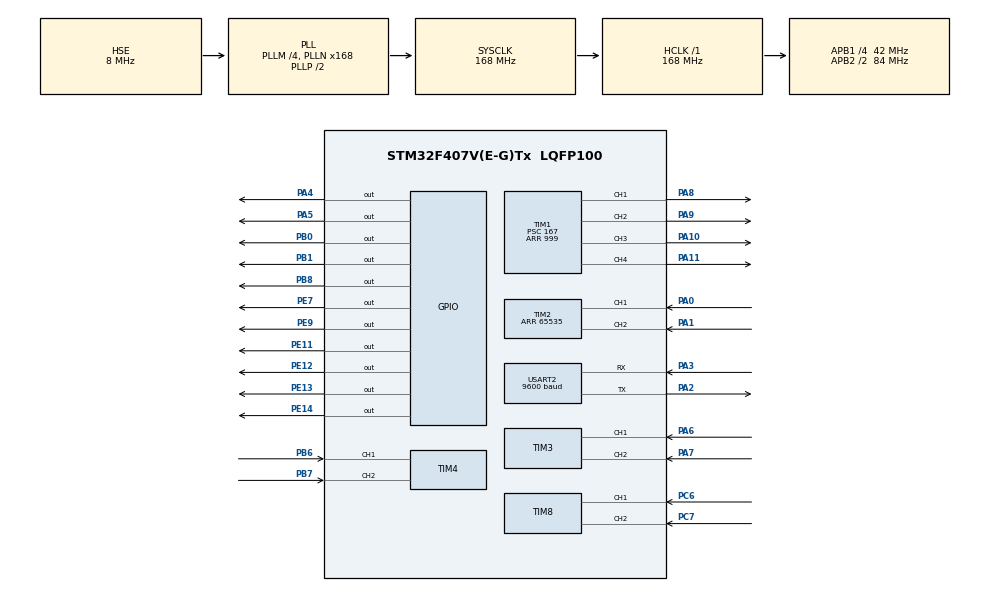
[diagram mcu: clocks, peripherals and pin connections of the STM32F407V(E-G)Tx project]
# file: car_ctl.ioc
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Mcu.Family=STM32F4
Mcu.Name=STM32F407V(E-G)Tx
Mcu.Package=LQFP100
NVIC.PriorityGroup=NVIC_PRIORITYGROUP_4
NVIC.TIM6_DAC_IRQn=true\:0\:0\:false\:false\:true\:true\:true\:true
NVIC.USART2_IRQn=true\:0\:0\:false\:false\:true\:true\:true\:true
PA0-WKUP.Signal=S_TIM2_CH1_ETR
PA1.Signal=S_TIM2_CH2
PA10.Signal=S_TIM1_CH3
PA11.Signal=S_TIM1_CH4
PA13.Mode=Serial_Wire
PA13.Signal=SYS_JTMS-SWDIO
PA14.Mode=Serial_Wire
PA14.Signal=SYS_JTCK-SWCLK
PA2.Mode=Asynchronous
PA2.Signal=USART2_TX
PA3.Mode=Asynchronous
PA3.Signal=USART2_RX
PA4.Signal=GPIO_Output
PA5.Signal=GPIO_Output
PA6.Signal=S_TIM3_CH1
PA7.Signal=S_TIM3_CH2
PA8.Signal=S_TIM1_CH1
PA9.Signal=S_TIM1_CH2
PB0.Signal=GPIO_Output
PB1.Signal=GPIO_Output
PB6.Signal=S_TIM4_CH1
PB7.Signal=S_TIM4_CH2
PB8.Signal=GPIO_Output
PC14-OSC32_IN.Mode=LSE-External-Oscillator
PC14-OSC32_IN.Signal=RCC_OSC32_IN
PC15-OSC32_OUT.Mode=LSE-External-Oscillator
PC15-OSC32_OUT.Signal=RCC_OSC32_OUT
PC6.Signal=S_TIM8_CH1
PC7.Signal=S_TIM8_CH2
PE11.Signal=GPIO_Output
PE12.Signal=GPIO_Output
PE13.Signal=GPIO_Output
PE14.Signal=GPIO_Output
PE7.Signal=GPIO_Output
PE9.Signal=GPIO_Output
PH0-OSC_IN.Mode=HSE-External-Oscillator
PH0-OSC_IN.Signal=RCC_OSC_IN
PH1-OSC_OUT.Mode=HSE-External-Oscillator
PH1-OSC_OUT.Signal=RCC_OSC_OUT
ProjectManager.HeapSize=0x200
ProjectManager.StackSize=0x400
ProjectManager.TargetToolchain=MDK-ARM V5
RCC.48MHZClocksFreq_Value=84000000
RCC.AHBFreq_Value=168000000
RCC.APB1CLKDivider=RCC_HCLK_DIV4
RCC.APB1Freq_Value=42000000
RCC.APB1TimFreq_Value=84000000
RCC.APB2CLKDivider=RCC_HCLK_DIV2
RCC.APB2Freq_Value=84000000
RCC.APB2TimFreq_Value=168000000
RCC.CortexFreq_Value=168000000
RCC.HCLKFreq_Value=168000000
RCC.HSE_VALUE=8000000
RCC.HSI_VALUE=16000000
RCC.PLLM=4
RCC.PLLN=168
RCC.PLLSourceVirtual=RCC_PLLSOURCE_HSE
RCC.SYSCLKFreq_VALUE=168000000
RCC.SYSCLKSource=RCC_SYSCLKSOURCE_PLLCLK
RCC.VCOOutputFreq_Value=336000000
SH.S_TIM1_CH1.0=TIM1_CH1,PWM Generation1 CH1
SH.S_TIM1_CH2.0=TIM1_CH2,PWM Generation2 CH2
SH.S_TIM1_CH3.0=TIM1_CH3,PWM Generation3 CH3
SH.S_TIM1_CH4.0=TIM1_CH4,PWM Generation4 CH4
SH.S_TIM2_CH1_ETR.0=TIM2_CH1,Encoder_Interface
SH.S_TIM2_CH2.0=TIM2_CH2,Encoder_Interface
SH.S_TIM3_CH1.0=TIM3_CH1,Encoder_Interface
SH.S_TIM3_CH2.0=TIM3_CH2,Encoder_Interface
SH.S_TIM4_CH1.0=TIM4_CH1,Encoder_Interface
SH.S_TIM4_CH2.0=TIM4_CH2,Encoder_Interface
SH.S_TIM8_CH1.0=TIM8_CH1,Encoder_Interface
SH.S_TIM8_CH2.0=TIM8_CH2,Encoder_Interface
TIM1.AutoReloadPreload=TIM_AUTORELOAD_PRELOAD_ENABLE
TIM1.AutomaticOutput=TIM_AUTOMATICOUTPUT_ENABLE
TIM1.Channel-PWM\ Generation1\ CH1=TIM_CHANNEL_1
TIM1.Channel-PWM\ Generation2\ CH2=TIM_CHANNEL_2
TIM1.Channel-PWM\ Generation3\ CH3=TIM_CHANNEL_3
TIM1.Channel-PWM\ Generation4\ CH4=TIM_CHANNEL_4
TIM1.Period=999
TIM1.Prescaler=167
TIM2.EncoderMode=TIM_ENCODERMODE_TI12
TIM2.Period=65535
TIM3.EncoderMode=TIM_ENCODERMODE_TI12
TIM4.EncoderMode=TIM_ENCODERMODE_TI12
TIM6.Prescaler=8399
TIM8.EncoderMode=TIM_ENCODERMODE_TI12
USART2.BaudRate=9600
USART2.VirtualMode=VM_ASYNC
VP_TIM6_VS_ClockSourceINT.Mode=Enable_Timer
board=custom

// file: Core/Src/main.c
/* USER CODE BEGIN Header */
/**
  ******************************************************************************
  * @file           : main.c
  * @brief          : Main program body
  ******************************************************************************
  * @attention
  *
  * Copyright (c) 2026 STMicroelectronics.
  * All rights reserved.
  *
  * This software is licensed under terms that can be found in the LICENSE file
  * in the root directory of this software component.
  * If no LICENSE file comes with this software, it is provided AS-IS.
  *
  ******************************************************************************
  */
/* USER CODE END Header */
#include "main.h"
#include "tim.h"
#include "usart.h"
#include "gpio.h"

/* USER CODE BEGIN Includes */
#include "oled.h"
#include "motor.h"
#include "kinematics.h"
#include "remote.h"
#include <string.h>
#include <stdio.h>
/* USER CODE END Includes */

/* USER CODE BEGIN PV */
// 遥控变量
volatile float target_vx = 0, target_vy = 0, target_omega = 0;
volatile uint8_t new_cmd_flag = 0;
volatile uint8_t motor_enabled = 0;   // 0:禁止运动, 1:允许运动
// 串口接收缓冲区
uint8_t uart_rx_line[64];
uint8_t uart_rx_index = 0;
volatile int16_t motor1_speed = 0;
volatile int16_t motor2_speed = 0;
/* USER CODE END PV */

void SystemClock_Config(void);

int main(void)
{

  /* MCU Configuration--------------------------------------------------------*/

  /* Reset of all peripherals, Initializes the Flash interface and the Systick. */
  HAL_Init();

  /* Configure the system clock */
  SystemClock_Config();

  /* Initialize all configured peripherals */
  MX_GPIO_Init();
  MX_USART2_UART_Init();
  MX_TIM1_Init();
  MX_TIM2_Init();
  MX_TIM3_Init();
  MX_TIM4_Init();
  MX_TIM8_Init();
  MX_TIM6_Init();
  /* USER CODE BEGIN 2 */
	OLED_Init();
	OLED_Clear();
	OLED_ColorTurn(0);//0正常显示，1 反色显示
  OLED_DisplayTurn(0);//0正常显示 1 屏幕翻转显示
	OLED_ShowString(0, 0, (uint8_t*)"Hajimi Robot", 16);
	OLED_Refresh();
	Motor_Init();
  Kinematics_Init(0.03f, 0.15f);   // 轮半径0.03m, 机器人半径0.15m
  for (int i = 0; i < 4; i++)
	{
		PID_Init(&motor[i].pid, 2.0f, 0.1f, 0.4f, 500.0f, 1000.0f);
  }

	HAL_TIM_Base_Start_IT(&htim6);

	uint32_t last_display = 0;
  char line_buf[32];
	char display_line[32];
//	Motor_SetSpeed(&motor[0], 500);  // 左前电机以50%占空比正转
//	Motor_SetSpeed(&motor[1], 500);
//	Motor_SetSpeed(&motor[2], 500);
//	Motor_SetSpeed(&motor[3], 500);
  /* USER CODE END 2 */

  /* Infinite loop */
  while (1)
  {

    /* USER CODE BEGIN 3 */
        // 1. 轮询接收蓝牙数据
        if (__HAL_UART_GET_FLAG(&huart2, UART_FLAG_RXNE) != RESET)
        {
          uint8_t data = (uint8_t)(huart2.Instance->DR & 0xFF);
        // 立即回传
					HAL_UART_Transmit(&huart2, &data, 1, 100);
					sprintf(display_line, "RX: 0x%02X '%c'", data, (data >= 32 && data <= 126) ? data : '.');
          OLED_ShowString(0, 20, (uint8_t*)display_line, 12);
					OLED_Refresh();
					Remote_Parse_Single(data);
					Motor_SetSpeed(&motor[0], motor1_speed);   // 左前
					Motor_SetSpeed(&motor[1], motor2_speed);   // 右前
        }

        // 2. 处理新命令，刷新 OLED 显示
        if (new_cmd_flag)
        {
            new_cmd_flag = 0;
            sprintf(line_buf, "VX:%.2f VY:%.2f", target_vx, target_vy);
            OLED_ShowString(0, 30, (uint8_t*)line_buf, 12);
            sprintf(line_buf, "OMG:%.2f", target_omega);
            OLED_ShowString(0, 40, (uint8_t*)line_buf, 12);
						OLED_Refresh();
        }

        // 3. 心跳显示（每500ms）
        if (HAL_GetTick() - last_display > 500)
        {
            last_display = HAL_GetTick();
            static uint32_t beat = 0;
            sprintf(line_buf, "Heart:%04d", beat++);
            OLED_ShowString(0, 50, (uint8_t*)line_buf, 12);
						OLED_Refresh();
        }

        // 4. 其他非阻塞任务
        HAL_Delay(10);

	}
  /* USER CODE END 3 */
}

void SystemClock_Config(void)
{
  RCC_OscInitTypeDef RCC_OscInitStruct = {0};
  RCC_ClkInitTypeDef RCC_ClkInitStruct = {0};

  /** Configure the main internal regulator output voltage
  */
  __HAL_RCC_PWR_CLK_ENABLE();
  __HAL_PWR_VOLTAGESCALING_CONFIG(PWR_REGULATOR_VOLTAGE_SCALE1);

  /** Initializes the RCC Oscillators according to the specified parameters
  * in the RCC_OscInitTypeDef structure.
  */
  RCC_OscInitStruct.OscillatorType = RCC_OSCILLATORTYPE_HSE;
  RCC_OscInitStruct.HSEState = RCC_HSE_ON;
  RCC_OscInitStruct.PLL.PLLState = RCC_PLL_ON;
  RCC_OscInitStruct.PLL.PLLSource = RCC_PLLSOURCE_HSE;
  RCC_OscInitStruct.PLL.PLLM = 4;
  RCC_OscInitStruct.PLL.PLLN = 168;
  RCC_OscInitStruct.PLL.PLLP = RCC_PLLP_DIV2;
  RCC_OscInitStruct.PLL.PLLQ = 4;
  if (HAL_RCC_OscConfig(&RCC_OscInitStruct) != HAL_OK)
  {
    Error_Handler();
  }

  /** Initializes the CPU, AHB and APB buses clocks
  */
  RCC_ClkInitStruct.ClockType = RCC_CLOCKTYPE_HCLK|RCC_CLOCKTYPE_SYSCLK
                              |RCC_CLOCKTYPE_PCLK1|RCC_CLOCKTYPE_PCLK2;
  RCC_ClkInitStruct.SYSCLKSource = RCC_SYSCLKSOURCE_PLLCLK;
  RCC_ClkInitStruct.AHBCLKDivider = RCC_SYSCLK_DIV1;
  RCC_ClkInitStruct.APB1CLKDivider = RCC_HCLK_DIV4;
  RCC_ClkInitStruct.APB2CLKDivider = RCC_HCLK_DIV2;

  if (HAL_RCC_ClockConfig(&RCC_ClkInitStruct, FLASH_LATENCY_5) != HAL_OK)
  {
    Error_Handler();
  }
}

/* USER CODE BEGIN 4 */
// 10ms 控制周期中断（用于电机闭环）
void HAL_TIM_PeriodElapsedCallback(TIM_HandleTypeDef *htim)
{
    if (htim->Instance == TIM6) {
        Motor_ControlLoop(target_vx, target_vy, target_omega);
    }
}
/* USER CODE END 4 */

void Error_Handler(void)
{
  __disable_irq();
  while (1)
  {
  }
}
